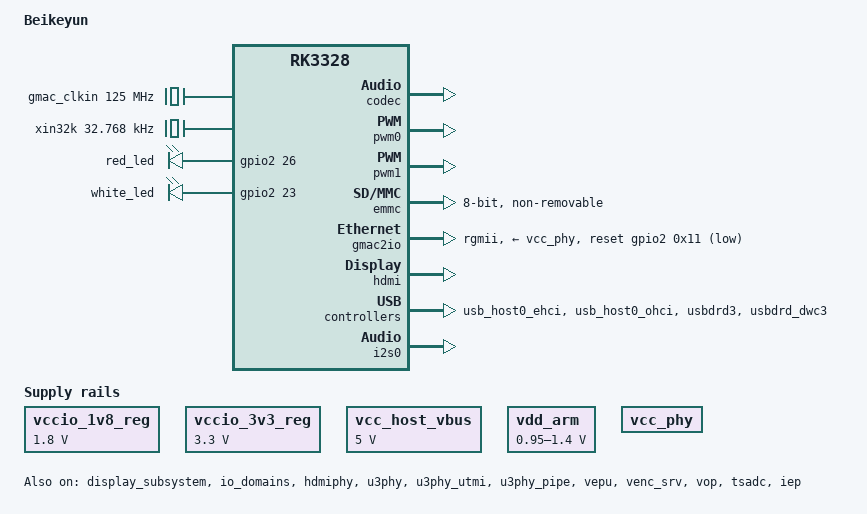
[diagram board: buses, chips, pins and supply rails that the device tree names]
/*
 * Copyright (c) 2017 Fuzhou Rockchip Electronics Co., Ltd
 *
 * This file is dual-licensed: you can use it either under the terms
 * of the GPL or the X11 license, at your option. Note that this dual
 * licensing only applies to this file, and not this project as a
 * whole.
 *
 *  a) This library is free software; you can redistribute it and/or
 *     modify it under the terms of the GNU General Public License as
 *     published by the Free Software Foundation; either version 2 of the
 *     License, or (at your option) any later version.
 *
 *     This library is distributed in the hope that it will be useful,
 *     but WITHOUT ANY WARRANTY; without even the implied warranty of
 *     MERCHANTABILITY or FITNESS FOR A PARTICULAR PURPOSE.  See the
 *     GNU General Public License for more details.
 *
 * Or, alternatively,
 *
 *  b) Permission is hereby granted, free of charge, to any person
 *     obtaining a copy of this software and associated documentation
 *     files (the "Software"), to deal in the Software without
 *     restriction, including without limitation the rights to use,
 *     copy, modify, merge, publish, distribute, sublicense, and/or
 *     sell copies of the Software, and to permit persons to whom the
 *     Software is furnished to do so, subject to the following
 *     conditions:
 *
 *     The above copyright notice and this permission notice shall be
 *     included in all copies or substantial portions of the Software.
 *
 *     THE SOFTWARE IS PROVIDED "AS IS", WITHOUT WARRANTY OF ANY KIND,
 *     EXPRESS OR IMPLIED, INCLUDING BUT NOT LIMITED TO THE WARRANTIES
 *     OF MERCHANTABILITY, FITNESS FOR A PARTICULAR PURPOSE AND
 *     NONINFRINGEMENT. IN NO EVENT SHALL THE AUTHORS OR COPYRIGHT
 *     HOLDERS BE LIABLE FOR ANY CLAIM, DAMAGES OR OTHER LIABILITY,
 *     WHETHER IN AN ACTION OF CONTRACT, TORT OR OTHERWISE, ARISING
 *     FROM, OUT OF OR IN CONNECTION WITH THE SOFTWARE OR THE USE OR
 *     OTHER DEALINGS IN THE SOFTWARE.
 */

/dts-v1/;
#include "rk3328.dtsi"

/ {
	model = "Beikeyun";
	compatible = "rockchip,beikeyun", "rockchip,rk3328";

	chosen {
		bootargs = "earlyprintk=uart8250-32bit,0xff130000 swiotlb=1 kpti=0";
	};

	fiq-debugger {
		compatible = "rockchip,fiq-debugger";
		rockchip,serial-id = <2>;
		rockchip,signal-irq = <159>;
		rockchip,wake-irq = <0>;
		/* If enable uart uses irq instead of fiq */
		rockchip,irq-mode-enable = <0>;
		rockchip,baudrate = <1500000>;  /* Only 115200 and 1500000 */
		interrupts = <GIC_SPI 127 IRQ_TYPE_LEVEL_LOW>;
		status = "okay";
	};

	gmac_clkin: external-gmac-clock {
		compatible = "fixed-clock";
		clock-frequency = <125000000>;
		clock-output-names = "gmac_clkin";
		#clock-cells = <0>;
	};

	regulators {
		compatible = "simple-bus";
		#address-cells = <1>;
		#size-cells = <0>;

		vccio_1v8_reg: regulator@0 {
			compatible = "regulator-fixed";
			regulator-name = "vccio_1v8";
			regulator-min-microvolt = <1800000>;
			regulator-max-microvolt = <1800000>;
			regulator-always-on;
		};

		vccio_3v3_reg: regulator@1 {
			compatible = "regulator-fixed";
			regulator-name = "vccio_3v3";
			regulator-min-microvolt = <3300000>;
			regulator-max-microvolt = <3300000>;
			regulator-always-on;
		};
	};

	vcc_host_vbus: host-vbus-regulator {
		compatible = "regulator-fixed";
		regulator-name = "vcc_host_vbus";
		regulator-min-microvolt = <5000000>;
		regulator-max-microvolt = <5000000>;
		regulator-always-on;
		regulator-boot-on;
	};

	vdd_arm: vdd-center {
		compatible = "pwm-regulator";
		rockchip,pwm_id = <0>;
		rockchip,pwm_voltage = <1250000>;
		pwms = <&pwm0 0 25000 1>;
		regulator-name = "vdd_arm";
		regulator-min-microvolt = <950000>;
		regulator-max-microvolt = <1400000>;
		regulator-settling-time-up-us = <250>;
		regulator-ramp-delay = <12500>;
		regulator-always-on;
		regulator-boot-on;
	};

	vcc_phy: vcc-phy-regulator {
		compatible = "regulator-fixed";
		regulator-name = "vcc_phy";
		regulator-always-on;
		regulator-boot-on;
	};

	xin32k: xin32k {
		compatible = "fixed-clock";
		clock-frequency = <32768>;
		clock-output-names = "xin32k";
		#clock-cells = <0>;
	};

	dummy_codec: dummy-codec {
		compatible = "linux,snd-soc-dummy";
		#sound-dai-cells = <0>;
	};

	hdmi-sound {
		compatible = "simple-audio-card";
		simple-audio-card,format = "i2s";
		simple-audio-card,mclk-fs = <256>;
		simple-audio-card,name = "HDMI";
		simple-audio-card,cpu {
			sound-dai = <&i2s0>;
		};
		simple-audio-card,codec {
			sound-dai = <&hdmi>;
		};
	};

	leds {
		status = "okay";
		compatible = "gpio-leds";
		red-led {
			label = "red_led";
			gpios = <&gpio2 26 GPIO_ACTIVE_HIGH>;
			linux,default-trigger = "none";
			default-state = "off";
		};
		white-led {
			label = "white_led";
			gpios = <&gpio2 23 GPIO_ACTIVE_HIGH>;
			linux,default-trigger = "none";
			default-state = "on";
		};
	};

};

&codec {
	#sound-dai-cells = <0>;
	status = "okay";
};

&cpu0 {
	cpu-supply = <&vdd_arm>;
};

&display_subsystem {
	status = "okay";
};

&io_domains {
	status = "okay";

	vccio1-supply = <&vccio_3v3_reg>;
	vccio2-supply = <&vccio_1v8_reg>;
	vccio3-supply = <&vccio_3v3_reg>;
	vccio4-supply = <&vccio_1v8_reg>;
	vccio5-supply = <&vccio_3v3_reg>;
	vccio6-supply = <&vccio_3v3_reg>;
	pmuio-supply = <&vccio_3v3_reg>;
};

&pwm0 {
	status = "okay";
	pinctrl-names = "active";
	pinctrl-0 = <&pwm0_pin_pull_up>;
};

&pwm1 {
	status = "okay";
	pinctrl-names = "active";
	pinctrl-0 = <&pwm1_pin_pull_up>;
};

&emmc {
	bus-width = <8>;
	cap-mmc-highspeed;
	mmc-hs200-1_8v;
	supports-emmc;
	disable-wp;
	non-removable;
	num-slots = <1>;
	pinctrl-names = "default";
	pinctrl-0 = <&emmc_clk &emmc_cmd &emmc_bus8>;
	status = "okay";
};

&gmac2io {
	phy-supply = <&vcc_phy>;
	phy-mode = "rgmii";
	assigned-clocks = <&cru SCLK_MAC2IO>, <&cru SCLK_MAC2IO_EXT>;
	assigned-clock-parents = <&gmac_clkin>, <&gmac_clkin>;
	clock_in_out = "input";
	snps,force_thresh_dma_mode;
	snps,reset-gpio = <&gpio2 0x11 GPIO_ACTIVE_LOW>;
	snps,reset-active-low;
	snps,reset-delays-us = <0 10000 50000>;
	pinctrl-names = "default";
	pinctrl-0 = <&rgmiim1_pins>;
	tx_delay = <0x26>;
	rx_delay = <0x11>;
	status = "okay";
};

&hdmi {
	#sound-dai-cells = <0>;
	ddc-i2c-scl-high-time-ns = <9625>;
	ddc-i2c-scl-low-time-ns = <10000>;
	status = "okay";
};

&hdmiphy {
	status = "okay";
};

&pinctrl {
	usb3 {
		usb30_host_drv: usb30-host-drv {
			rockchip,pins = <0 0 RK_FUNC_GPIO &pcfg_pull_none>;
		};
	};
};

&threshold {
	temperature = <85000>; /* millicelsius */
};

&target {
	temperature = <95000>; /* millicelsius */
};

&soc_crit {
	temperature = <100000>; /* millicelsius */
};

&u3phy {
	vbus-supply = <&vcc_host_vbus>;
	status = "okay";
};

&u3phy_utmi {
	status = "okay";
};

&u3phy_pipe {
	status = "okay";
};

&usb_host0_ehci {
	status = "okay";
};

&usb_host0_ohci {
	status = "okay";
};

&usbdrd3 {
	status = "okay";
};

&usbdrd_dwc3 {
	status = "okay";
};

&vepu {
	status = "okay";
};

&vepu_mmu {
	status = "okay";
};

&venc_srv {
	status = "okay";
};

&vop {
	status = "okay";
};

&vop_mmu {
	status = "okay";
};

&i2s0 {
	#sound-dai-cells = <0>;
	rockchip,bclk-fs = <128>;
	status = "okay";
};

&tsadc {
	rockchip,hw-tshut-mode = <0>;
	rockchip,hw-tshut-polarity = <1>;
	status = "okay";
};

&gpu {
	status = "disabled";
};

&rkvdec {
	status = "disabled";
};

&dmc {
	status = "disabled";
};

&iep {
	status = "okay";
};

&iep_mmu {
	status = "okay";
};

&cpu0_opp_table {

	rockchip,leakage-voltage-sel = <
		1   10    0
		11  254   1
	>;
	nvmem-cells = <&cpu_leakage>;
	nvmem-cell-names = "cpu_leakage";

	opp-408000000 {
		status = "disabled";
	};
	opp-600000000 {
		opp-hz = /bits/ 64 <600000000>;
		opp-microvolt = <950000 950000 1350000>;
		opp-microvolt-L0 = <950000 950000 1350000>;
		opp-microvolt-L1 = <950000 950000 1350000>;
		clock-latency-ns = <40000>;
		opp-suspend;
	};
	opp-816000000 {
		opp-hz = /bits/ 64 <816000000>;
		opp-microvolt = <1050000 1050000 1350000>;
		opp-microvolt-L0 = <1050000 1050000 1350000>;
		opp-microvolt-L1 = <1000000 1000000 1350000>;
		clock-latency-ns = <40000>;
	};
	opp-1008000000 {
		opp-hz = /bits/ 64 <1008000000>;
		opp-microvolt = <1150000 1150000 1350000>;
		opp-microvolt-L0 = <1150000 1150000 1350000>;
		opp-microvolt-L1 = <1100000 1100000 1350000>;
		clock-latency-ns = <40000>;
	};
	opp-1200000000 {
		opp-hz = /bits/ 64 <1200000000>;
		opp-microvolt = <1275000 1275000 1350000>;
		opp-microvolt-L0 = <1275000 1275000 1350000>;
		opp-microvolt-L1 = <1225000 1225000 1350000>;
		clock-latency-ns = <40000>;
	};
	opp-1296000000 {
		opp-hz = /bits/ 64 <1296000000>;
		opp-microvolt = <1350000 1350000 1350000>;
		opp-microvolt-L0 = <1350000 1350000 1350000>;
		opp-microvolt-L1 = <1300000 1300000 1350000>;
		clock-latency-ns = <40000>;
	};
	opp-1392000000 {
		status = "disabled";
	};
	opp-1512000000 {
		status = "disabled";
	};
};
